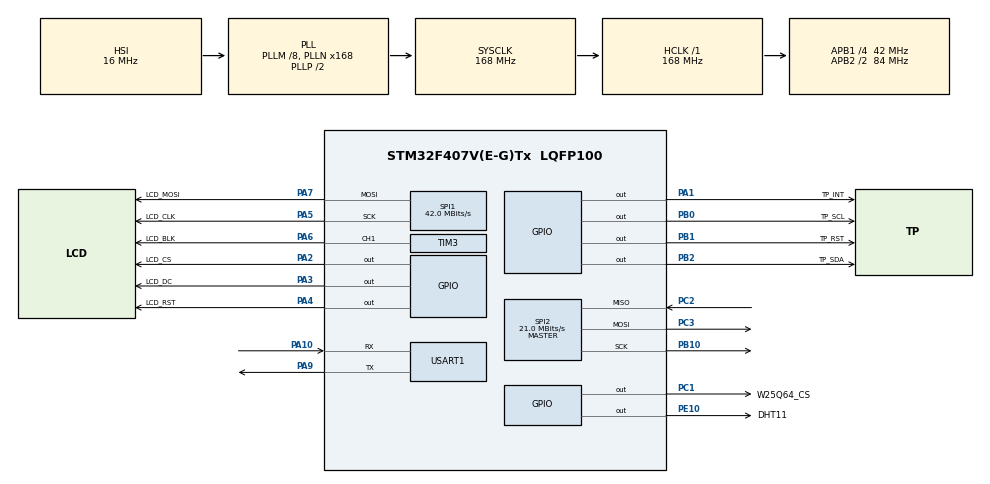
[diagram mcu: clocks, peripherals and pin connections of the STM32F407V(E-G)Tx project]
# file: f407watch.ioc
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Dma.Request0=SPI1_TX
Dma.SPI1_TX.0.Direction=DMA_MEMORY_TO_PERIPH
Dma.SPI1_TX.0.FIFOMode=DMA_FIFOMODE_DISABLE
Dma.SPI1_TX.0.Instance=DMA2_Stream3
Dma.SPI1_TX.0.MemDataAlignment=DMA_MDATAALIGN_BYTE
Dma.SPI1_TX.0.MemInc=DMA_MINC_ENABLE
Dma.SPI1_TX.0.Mode=DMA_NORMAL
Dma.SPI1_TX.0.PeriphDataAlignment=DMA_PDATAALIGN_BYTE
Dma.SPI1_TX.0.PeriphInc=DMA_PINC_DISABLE
Dma.SPI1_TX.0.Priority=DMA_PRIORITY_LOW
FREERTOS.Queues01=DataQueue,16,My_msg_t,0,Dynamic,NULL,NULL
FREERTOS.Tasks01=lvgl_defaultTas,24,1024,LvglDefaultTask,Default,NULL,Dynamic,NULL,NULL;GetDataTask,8,128,GetStartTask,Default,NULL,Dynamic,NULL,NULL;ShowTask,8,128,ShowStartTask,Default,NULL,Dynamic,NULL,NULL
FREERTOS.configCHECK_FOR_STACK_OVERFLOW=2
Mcu.Family=STM32F4
Mcu.Name=STM32F407V(E-G)Tx
Mcu.Package=LQFP100
NVIC.DMA2_Stream3_IRQn=true\:5\:0\:false\:false\:true\:true\:false\:true\:true
NVIC.PriorityGroup=NVIC_PRIORITYGROUP_4
NVIC.SPI1_IRQn=true\:5\:0\:false\:false\:true\:true\:true\:true\:true
NVIC.SPI2_IRQn=true\:5\:0\:false\:false\:true\:true\:true\:true\:true
NVIC.TIM2_IRQn=true\:15\:0\:false\:false\:true\:false\:false\:true\:true
NVIC.TimeBase=TIM2_IRQn
NVIC.TimeBaseIP=TIM2
NVIC.USART1_IRQn=true\:5\:0\:false\:false\:true\:true\:true\:true\:true
PA1.GPIO_Label=TP_INT
PA1.GPIO_PuPd=GPIO_PULLUP
PA1.GPIO_Speed=GPIO_SPEED_FREQ_VERY_HIGH
PA1.PinState=GPIO_PIN_RESET
PA1.Signal=GPIO_Output
PA10.Mode=Asynchronous
PA10.Signal=USART1_RX
PA13.Mode=Serial_Wire
PA13.Signal=SYS_JTMS-SWDIO
PA14.Mode=Serial_Wire
PA14.Signal=SYS_JTCK-SWCLK
PA2.GPIO_Label=LCD_CS
PA2.GPIO_Speed=GPIO_SPEED_FREQ_VERY_HIGH
PA2.Signal=GPIO_Output
PA3.GPIO_Label=LCD_DC
PA3.GPIO_Speed=GPIO_SPEED_FREQ_VERY_HIGH
PA3.Signal=GPIO_Output
PA4.GPIO_Label=LCD_RST
PA4.GPIO_Speed=GPIO_SPEED_FREQ_VERY_HIGH
PA4.Signal=GPIO_Output
PA5.GPIO_Label=LCD_CLK
PA5.GPIO_PuPd=GPIO_PULLUP
PA5.Mode=TX_Only_Simplex_Unidirect_Master
PA5.Signal=SPI1_SCK
PA6.GPIO_Label=LCD_BLK
PA6.Signal=S_TIM3_CH1
PA7.GPIO_Label=LCD_MOSI
PA7.GPIO_PuPd=GPIO_PULLUP
PA7.Mode=TX_Only_Simplex_Unidirect_Master
PA7.Signal=SPI1_MOSI
PA9.Mode=Asynchronous
PA9.Signal=USART1_TX
PB0.GPIO_Label=TP_SCL
PB0.GPIO_PuPd=GPIO_PULLUP
PB0.GPIO_Speed=GPIO_SPEED_FREQ_VERY_HIGH
PB0.Signal=GPIO_Output
PB1.GPIO_Label=TP_RST
PB1.GPIO_Speed=GPIO_SPEED_FREQ_VERY_HIGH
PB1.Signal=GPIO_Output
PB10.Mode=Full_Duplex_Master
PB10.Signal=SPI2_SCK
PB2.GPIO_Label=TP_SDA
PB2.GPIO_PuPd=GPIO_PULLUP
PB2.GPIO_Speed=GPIO_SPEED_FREQ_VERY_HIGH
PB2.Signal=GPIO_Output
PC1.GPIO_Label=W25Q64_CS
PC1.GPIO_Speed=GPIO_SPEED_FREQ_VERY_HIGH
PC1.PinState=GPIO_PIN_SET
PC1.Signal=GPIO_Output
PC14-OSC32_IN.Mode=LSE-External-Oscillator
PC14-OSC32_IN.Signal=RCC_OSC32_IN
PC15-OSC32_OUT.Mode=LSE-External-Oscillator
PC15-OSC32_OUT.Signal=RCC_OSC32_OUT
PC2.Mode=Full_Duplex_Master
PC2.Signal=SPI2_MISO
PC3.Mode=Full_Duplex_Master
PC3.Signal=SPI2_MOSI
PE10.GPIO_Label=DHT11
PE10.GPIO_Speed=GPIO_SPEED_FREQ_VERY_HIGH
PE10.Signal=GPIO_Output
PH0-OSC_IN.Mode=HSE-External-Oscillator
PH0-OSC_IN.Signal=RCC_OSC_IN
PH1-OSC_OUT.Mode=HSE-External-Oscillator
PH1-OSC_OUT.Signal=RCC_OSC_OUT
ProjectManager.HeapSize=0x200
ProjectManager.StackSize=0x400
ProjectManager.TargetToolchain=MDK-ARM V5.32
RCC.48MHZClocksFreq_Value=84000000
RCC.AHBFreq_Value=168000000
RCC.APB1CLKDivider=RCC_HCLK_DIV4
RCC.APB1Freq_Value=42000000
RCC.APB1TimFreq_Value=84000000
RCC.APB2CLKDivider=RCC_HCLK_DIV2
RCC.APB2Freq_Value=84000000
RCC.APB2TimFreq_Value=168000000
RCC.CortexFreq_Value=168000000
RCC.HCLKFreq_Value=168000000
RCC.HSE_VALUE=24000000
RCC.HSI_VALUE=16000000
RCC.PLLM=8
RCC.PLLN=168
RCC.RCC_RTC_Clock_Source=RCC_RTCCLKSOURCE_LSE
RCC.RCC_RTC_Clock_SourceVirtual=RCC_RTCCLKSOURCE_LSE
RCC.SYSCLKFreq_VALUE=168000000
RCC.SYSCLKSource=RCC_SYSCLKSOURCE_PLLCLK
RCC.VCOOutputFreq_Value=336000000
SH.S_TIM3_CH1.0=TIM3_CH1,PWM Generation1 CH1
SPI1.BaudRatePrescaler=SPI_BAUDRATEPRESCALER_2
SPI1.CLKPhase=SPI_PHASE_2EDGE
SPI1.CLKPolarity=SPI_POLARITY_HIGH
SPI1.CalculateBaudRate=42.0 MBits/s
SPI1.Direction=SPI_DIRECTION_2LINES
SPI1.Mode=SPI_MODE_MASTER
SPI1.VirtualType=VM_MASTER
SPI2.CalculateBaudRate=21.0 MBits/s
SPI2.Direction=SPI_DIRECTION_2LINES
SPI2.Mode=SPI_MODE_MASTER
SPI2.VirtualType=VM_MASTER
TIM3.AutoReloadPreload=TIM_AUTORELOAD_PRELOAD_ENABLE
TIM3.Channel-PWM\ Generation1\ CH1=TIM_CHANNEL_1
TIM3.Period=1000-1
TIM3.Prescaler=84-1
USART1.VirtualMode=VM_ASYNC
VP_FREERTOS_VS_CMSIS_V2.Mode=CMSIS_V2
VP_RTC_VS_RTC_Activate.Mode=RTC_Enabled
VP_RTC_VS_RTC_Calendar.Mode=RTC_Calendar
VP_SYS_VS_tim2.Mode=TIM2
VP_TIM3_VS_ClockSourceINT.Mode=Internal
board=custom

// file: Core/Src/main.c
/* USER CODE BEGIN Header */
/**
  ******************************************************************************
  * @file           : main.c
  * @brief          : Main program body
  ******************************************************************************
  * @attention
  *
  * Copyright (c) 2026 STMicroelectronics.
  * All rights reserved.
  *
  * This software is licensed under terms that can be found in the LICENSE file
  * in the root directory of this software component.
  * If no LICENSE file comes with this software, it is provided AS-IS.
  *
  ******************************************************************************
  */
/* USER CODE END Header */
#include "main.h"
#include "cmsis_os.h"
#include "dma.h"
#include "rtc.h"
#include "spi.h"
#include "tim.h"
#include "usart.h"
#include "gpio.h"

/* USER CODE BEGIN Includes */

#include "custom.h"
/* USER CODE END Includes */

void SystemClock_Config(void);
void MX_FREERTOS_Init(void);

/* USER CODE BEGIN 0 */

/* HAL 时基（HAL_Delay / HAL_GetTick）统一放在 SYSTEM/delay.c 里，和 delay_us/delay_ms
   共用同一套 DWT 实现，这里不再覆盖。 */

/* USER CODE END 0 */

int main(void)
{

  /* MCU Configuration--------------------------------------------------------*/

  /* Reset of all peripherals, Initializes the Flash interface and the Systick. */
  HAL_Init();

  /* Configure the system clock */
  SystemClock_Config();

  /* Initialize all configured peripherals */
  MX_GPIO_Init();
  MX_DMA_Init();
  MX_SPI1_Init();
  MX_TIM3_Init();
  MX_RTC_Init();
  MX_USART1_UART_Init();
  MX_SPI2_Init();
  /* USER CODE BEGIN 2 */

  HAL_TIM_PWM_Start(&htim3, TIM_CHANNEL_1);
  /* ===== wiring check with a multimeter: pins toggle for the first 20 s =====
     The five LCD signals toggle together at 1 Hz, so every one of them should
     measure about 1.6 V DC at the LCD connector.  A pin stuck at 0 V or 3.3 V
     means that track is open, shorted, or wired to a different MCU pin.
     Set LCD_PINWALK_TEST to 0 to skip this check. */
#define LCD_PINWALK_TEST 0
#if LCD_PINWALK_TEST
  {
    GPIO_InitTypeDef g = {0};
    g.Pin   = GPIO_PIN_2|GPIO_PIN_3|GPIO_PIN_4|GPIO_PIN_5|GPIO_PIN_7;  /* SCK MOSI RST CS DC */
    g.Mode  = GPIO_MODE_OUTPUT_PP;
    g.Pull  = GPIO_NOPULL;
    g.Speed = GPIO_SPEED_FREQ_LOW;
    HAL_GPIO_Init(GPIOA, &g);
    for (;;) {                              /* loops forever: measurement mode */
      HAL_GPIO_WritePin(GPIOA, g.Pin, GPIO_PIN_SET);
      HAL_Delay(500);
      HAL_GPIO_WritePin(GPIOA, g.Pin, GPIO_PIN_RESET);
      HAL_Delay(500);
    }
  }
#endif
  custom_init(&gui);

  /* USER CODE END 2 */

  /* Init scheduler */
  osKernelInitialize();  /* Call init function for freertos objects (in cmsis_os2.c) */
  MX_FREERTOS_Init();

  /* Start scheduler */
  osKernelStart();

  /* We should never get here as control is now taken by the scheduler */

  /* Infinite loop */
  while (1)
  {

  }
}

void SystemClock_Config(void)
{
  RCC_OscInitTypeDef RCC_OscInitStruct = {0};
  RCC_ClkInitTypeDef RCC_ClkInitStruct = {0};

  /** Configure the main internal regulator output voltage
  */
  __HAL_RCC_PWR_CLK_ENABLE();
  __HAL_PWR_VOLTAGESCALING_CONFIG(PWR_REGULATOR_VOLTAGE_SCALE1);

  /** Initializes the RCC Oscillators according to the specified parameters
  * in the RCC_OscInitTypeDef structure.
  */
  RCC_OscInitStruct.OscillatorType = RCC_OSCILLATORTYPE_HSI|RCC_OSCILLATORTYPE_LSE;
  RCC_OscInitStruct.LSEState = RCC_LSE_ON;
  RCC_OscInitStruct.HSIState = RCC_HSI_ON;
  RCC_OscInitStruct.HSICalibrationValue = RCC_HSICALIBRATION_DEFAULT;
  RCC_OscInitStruct.PLL.PLLState = RCC_PLL_ON;
  RCC_OscInitStruct.PLL.PLLSource = RCC_PLLSOURCE_HSI;
  RCC_OscInitStruct.PLL.PLLM = 8;
  RCC_OscInitStruct.PLL.PLLN = 168;
  RCC_OscInitStruct.PLL.PLLP = RCC_PLLP_DIV2;
  RCC_OscInitStruct.PLL.PLLQ = 4;
  if (HAL_RCC_OscConfig(&RCC_OscInitStruct) != HAL_OK)
  {
    Error_Handler();
  }

  /** Initializes the CPU, AHB and APB buses clocks
  */
  RCC_ClkInitStruct.ClockType = RCC_CLOCKTYPE_HCLK|RCC_CLOCKTYPE_SYSCLK
                              |RCC_CLOCKTYPE_PCLK1|RCC_CLOCKTYPE_PCLK2;
  RCC_ClkInitStruct.SYSCLKSource = RCC_SYSCLKSOURCE_PLLCLK;
  RCC_ClkInitStruct.AHBCLKDivider = RCC_SYSCLK_DIV1;
  RCC_ClkInitStruct.APB1CLKDivider = RCC_HCLK_DIV4;
  RCC_ClkInitStruct.APB2CLKDivider = RCC_HCLK_DIV2;

  if (HAL_RCC_ClockConfig(&RCC_ClkInitStruct, FLASH_LATENCY_5) != HAL_OK)
  {
    Error_Handler();
  }
}

void HAL_TIM_PeriodElapsedCallback(TIM_HandleTypeDef *htim)
{
  if (htim->Instance == TIM2)
  {
    HAL_IncTick();
  }
}

void Error_Handler(void)
{
  __disable_irq();
  while (1)
  {
  }
}

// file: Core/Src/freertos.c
/* USER CODE BEGIN Header */
/**
  ******************************************************************************
  * File Name          : freertos.c
  * Description        : Code for freertos applications
  ******************************************************************************
  * @attention
  *
  * Copyright (c) 2026 STMicroelectronics.
  * All rights reserved.
  *
  * This software is licensed under terms that can be found in the LICENSE file
  * in the root directory of this software component.
  * If no LICENSE file comes with this software, it is provided AS-IS.
  *
  ******************************************************************************
  */
/* USER CODE END Header */

#include "FreeRTOS.h"
#include "task.h"
#include "main.h"
#include "cmsis_os.h"

/* USER CODE BEGIN Includes */
#include "lvgl.h"
#include "dht11.h"
#include "data.h"
#include "print.h"
#include "w25q64.h"
/* USER CODE END Includes */

/* Definitions for lvgl_defaultTas */
osThreadId_t lvgl_defaultTasHandle;
const osThreadAttr_t lvgl_defaultTas_attributes = {
  .name = "lvgl_defaultTas",
  .stack_size = 1024 * 4,
  .priority = (osPriority_t) osPriorityNormal,
};
/* Definitions for GetDataTask */
osThreadId_t GetDataTaskHandle;
const osThreadAttr_t GetDataTask_attributes = {
  .name = "GetDataTask",
  .stack_size = 128 * 4,
  .priority = (osPriority_t) osPriorityLow,
};
/* Definitions for ShowTask */
osThreadId_t ShowTaskHandle;
const osThreadAttr_t ShowTask_attributes = {
  .name = "ShowTask",
  .stack_size = 128 * 4,
  .priority = (osPriority_t) osPriorityLow,
};
/* Definitions for DataQueue */
osMessageQueueId_t DataQueueHandle;
const osMessageQueueAttr_t DataQueue_attributes = {
  .name = "DataQueue"
};

void LvglDefaultTask(void *argument);
void GetStartTask(void *argument);
void ShowStartTask(void *argument);

void MX_FREERTOS_Init(void); /* (MISRA C 2004 rule 8.1) */

/* Hook prototypes */
void vApplicationStackOverflowHook(xTaskHandle xTask, signed char *pcTaskName);

/* USER CODE BEGIN 4 */
void vApplicationStackOverflowHook(xTaskHandle xTask, signed char *pcTaskName)
{
  __disable_irq();
    for (;;) { }
   /* Run time stack overflow checking is performed if
   configCHECK_FOR_STACK_OVERFLOW is defined to 1 or 2. This hook function is
   called if a stack overflow is detected. */
}
/* USER CODE END 4 */

void MX_FREERTOS_Init(void) {

  /* Create the queue(s) */
  /* creation of DataQueue */
  DataQueueHandle = osMessageQueueNew (16, sizeof(My_msg_t), &DataQueue_attributes);

  /* Create the thread(s) */
  /* creation of lvgl_defaultTas */
  lvgl_defaultTasHandle = osThreadNew(LvglDefaultTask, NULL, &lvgl_defaultTas_attributes);

  /* creation of GetDataTask */
  GetDataTaskHandle = osThreadNew(GetStartTask, NULL, &GetDataTask_attributes);

  /* creation of ShowTask */
  ShowTaskHandle = osThreadNew(ShowStartTask, NULL, &ShowTask_attributes);

  /* USER CODE BEGIN RTOS_EVENTS */
  /* add events, ... */
  my_printf_init();
  /* USER CODE END RTOS_EVENTS */

}

void LvglDefaultTask(void *argument)
{
  /* USER CODE BEGIN LvglDefaultTask */
  /* Infinite loop */
  for(;;)
  {
    lv_timer_handler();
    osDelay(5);
  }
  /* USER CODE END LvglDefaultTask */
}

void GetStartTask(void *argument)
{
  /* USER CODE BEGIN GetStartTask */
  DHT11_Init();
  My_msg_t dht_msg = {.sensor = DHT11};
  if (W25Q64_Init() != W25Q64_OK) {
    my_printf("W25Q64 not found, id=0x%06X\r\n", W25Q64_ReadJedecID());

  } else {
    my_printf("W25Q64 ok, id=0x%06X, cap=%u KB\r\n",
              W25Q64_ReadJedecID(), W25Q64_GetCapacity() / 1024U);
    uint8_t back[30];
    W25Q64_Read(0x000000, back, sizeof(back));
    my_printf("data : %s", back);
  }
  /* Infinite loop */
  for(;;)
  {
    DHT11_Read_Data(&temp, &humi);
    GiveDataToMSGT(&dht_msg);
    osMessageQueuePut(DataQueueHandle, &dht_msg, NULL, 100);
    osDelay(1000);
  }
  /* USER CODE END GetStartTask */
}

void ShowStartTask(void *argument)
{
  /* USER CODE BEGIN ShowStartTask */
  My_msg_t dht_msg;
  /* Infinite loop */
  for(;;)
  {
    osMessageQueueGet(DataQueueHandle, &dht_msg, NULL, 100);
    my_printf("humi: %d, temp : %d \n", dht_msg.message[0], dht_msg.message[1]);
    osDelay(1000);
  }
  /* USER CODE END ShowStartTask */
}
